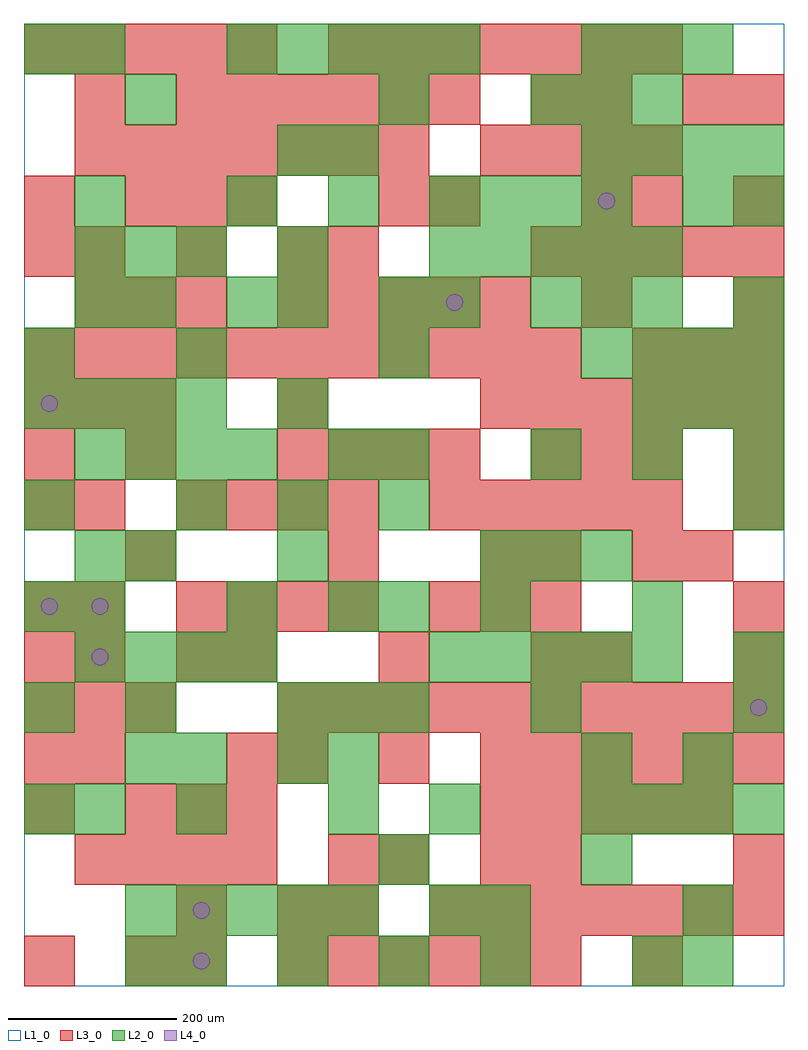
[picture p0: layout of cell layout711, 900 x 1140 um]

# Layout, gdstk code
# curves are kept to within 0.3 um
import gdstk
lib = gdstk.Library(unit=1e-6, precision=1e-09)
def R(c, l, rs):  # rectangles x0, y0, x1, y1
    for r in rs: c.add(gdstk.rectangle(r[:2], r[2:], *l))
def A(c, l, x, y, w, h, nx, ny, dx, dy):  # array of equal rectangles
    R(c, l, [(x+i*dx, y+j*dy, x+i*dx+w, y+j*dy+h) for i in range(nx) for j in range(ny)])
def P(c, l, *ps):  # polygons
    for p in ps: c.add(gdstk.Polygon(p, *l))
L1_0 = (1, 0)
L2_0 = (2, 0)
L3_0 = (3, 0)
L4_0 = (4, 0)

layout711 = lib.new_cell('layout711')
R(layout711, L1_0, [(0,0,900,1140)])
A(layout711, L2_0, 180, 0, 60, 60, 4, 1, 120, 0)
A(layout711, L2_0, 120, 60, 60, 60, 5, 1, 60, 0)
A(layout711, L2_0, 0, 180, 60, 60, 1, 4, 0, 120)
A(layout711, L2_0, 660, 180, 60, 60, 4, 2, 60, 780)
A(layout711, L2_0, 360, 240, 60, 60, 1, 3, 0, 180)
A(layout711, L2_0, 300, 300, 60, 60, 3, 1, 60, 0)
A(layout711, L2_0, 60, 360, 60, 60, 4, 2, 60, 240)
A(layout711, L2_0, 480, 360, 60, 60, 5, 2, 60, 480)
A(layout711, L2_0, 420, 420, 60, 60, 1, 3, 0, 180)
A(layout711, L2_0, 540, 480, 60, 60, 3, 2, 60, 420)
A(layout711, L2_0, 180, 540, 60, 60, 3, 1, 120, 0)
A(layout711, L2_0, 600, 600, 60, 60, 3, 1, 120, 0)
A(layout711, L2_0, 0, 660, 60, 60, 4, 1, 60, 0)
A(layout711, L2_0, 720, 660, 60, 60, 3, 2, 60, 60)
A(layout711, L2_0, 180, 720, 60, 60, 3, 1, 240, 0)
A(layout711, L2_0, 600, 780, 60, 60, 3, 2, 60, 240)
A(layout711, L2_0, 60, 840, 60, 60, 3, 1, 60, 0)
A(layout711, L2_0, 240, 900, 60, 60, 3, 1, 120, 0)
A(layout711, L2_0, 240, 1080, 60, 60, 5, 1, 60, 0)
A(layout711, L2_0, 660, 1080, 60, 60, 3, 1, 60, 0)
R(layout711, L2_0, [(120,0,180,60), (720,0,780,60), (780,0,840,60), (480,60,540,120), (540,60,600,120), (780,60,840,120), (420,120,480,180), (660,120,720,180), (60,180,120,240), (180,180,240,240), (360,180,420,240), (480,180,540,240), (120,240,180,300), (180,240,240,300), (300,240,360,300), (660,240,720,300), (780,240,840,300), (120,300,180,360), (600,300,660,360), (840,300,900,360), (840,360,900,420), (60,420,120,480), (240,420,300,480), (540,420,600,480), (720,420,780,480), (60,480,120,540), (120,480,180,540), (300,480,360,540), (840,540,900,600), (300,660,360,720), (0,720,60,780), (60,780,120,840), (120,780,180,840), (240,780,300,840), (300,780,360,840), (480,780,540,840), (840,780,900,840), (300,840,360,900), (60,900,120,960), (780,900,840,960), (840,900,900,960), (300,960,360,1020), (360,960,420,1020), (120,1020,180,1080), (420,1020,480,1080), (0,1080,60,1140), (60,1080,120,1140)])
A(layout711, L3_0, 300, 0, 60, 60, 6, 1, 60, 0)
A(layout711, L3_0, 480, 60, 60, 60, 7, 1, 60, 0)
A(layout711, L3_0, 60, 120, 60, 60, 4, 1, 60, 0)
A(layout711, L3_0, 360, 120, 60, 60, 1, 3, 0, 360)
A(layout711, L3_0, 120, 180, 60, 60, 3, 2, 60, 720)
A(layout711, L3_0, 540, 180, 60, 60, 5, 1, 60, 0)
A(layout711, L3_0, 300, 240, 60, 60, 3, 1, 120, 0)
A(layout711, L3_0, 600, 240, 60, 60, 5, 2, 60, 600)
A(layout711, L3_0, 0, 300, 60, 60, 3, 2, 60, 360)
A(layout711, L3_0, 300, 300, 60, 60, 10, 1, 60, 0)
A(layout711, L3_0, 240, 360, 60, 60, 3, 1, 180, 0)
A(layout711, L3_0, 180, 420, 60, 60, 4, 2, 60, 120)
A(layout711, L3_0, 480, 420, 60, 60, 3, 1, 60, 0)
A(layout711, L3_0, 480, 540, 60, 60, 5, 1, 60, 0)
A(layout711, L3_0, 300, 600, 60, 60, 4, 1, 60, 0)
A(layout711, L3_0, 600, 600, 60, 60, 3, 1, 60, 0)
A(layout711, L3_0, 540, 660, 60, 60, 6, 1, 60, 0)
A(layout711, L3_0, 0, 720, 60, 60, 11, 1, 60, 0)
A(layout711, L3_0, 720, 720, 60, 60, 3, 1, 60, 0)
A(layout711, L3_0, 60, 780, 60, 60, 3, 1, 60, 0)
A(layout711, L3_0, 300, 780, 60, 60, 5, 1, 60, 0)
A(layout711, L3_0, 660, 780, 60, 60, 1, 3, 0, 120)
A(layout711, L3_0, 840, 780, 60, 60, 1, 3, 0, 120)
A(layout711, L3_0, 60, 840, 60, 60, 3, 1, 120, 0)
A(layout711, L3_0, 60, 960, 60, 60, 7, 1, 60, 0)
A(layout711, L3_0, 540, 960, 60, 60, 4, 1, 60, 0)
A(layout711, L3_0, 180, 1020, 60, 60, 6, 1, 60, 0)
A(layout711, L3_0, 0, 1080, 60, 60, 5, 1, 60, 0)
A(layout711, L3_0, 360, 1080, 60, 60, 7, 1, 60, 0)
R(layout711, L3_0, [(0,0,60,60), (120,0,180,60), (180,0,240,60), (720,0,780,60), (180,60,240,120), (300,60,360,120), (360,60,420,120), (420,120,480,180), (540,120,600,180), (600,120,660,180), (840,120,900,180), (0,180,60,240), (0,240,60,300), (60,240,120,300), (240,240,300,300), (0,360,60,420), (60,360,120,420), (180,360,240,420), (660,360,720,420), (840,360,900,420), (0,420,60,480), (60,420,120,480), (840,420,900,480), (120,480,180,540), (540,480,600,540), (600,480,660,540), (720,480,780,540), (780,480,840,540), (0,540,60,600), (60,540,120,600), (840,540,900,600), (0,600,60,660), (120,600,180,660), (840,600,900,660), (300,660,360,720), (0,840,60,900), (0,900,60,960), (420,900,480,960), (480,900,540,960), (720,900,780,960), (60,1020,120,1080), (600,1020,660,1080), (780,1020,840,1080)])
P(layout711, L4_0, [(40,450),(39.239,453.827),(37.071,457.071),(33.827,459.239),(30,460),(26.173,459.239),(22.929,457.071),(20.761,453.827),(20,450),(20.761,446.173),(22.929,442.929),(26.173,440.761),(30,440),(33.827,440.761),(37.071,442.929),(39.239,446.173)],
  [(40,690),(39.239,693.827),(37.071,697.071),(33.827,699.239),(30,700),(26.173,699.239),(22.929,697.071),(20.761,693.827),(20,690),(20.761,686.173),(22.929,682.929),(26.173,680.761),(30,680),(33.827,680.761),(37.071,682.929),(39.239,686.173)],
  [(100,390),(99.239,393.827),(97.071,397.071),(93.827,399.239),(90,400),(86.173,399.239),(82.929,397.071),(80.761,393.827),(80,390),(80.761,386.173),(82.929,382.929),(86.173,380.761),(90,380),(93.827,380.761),(97.071,382.929),(99.239,386.173)],
  [(100,450),(99.239,453.827),(97.071,457.071),(93.827,459.239),(90,460),(86.173,459.239),(82.929,457.071),(80.761,453.827),(80,450),(80.761,446.173),(82.929,442.929),(86.173,440.761),(90,440),(93.827,440.761),(97.071,442.929),(99.239,446.173)],
  [(220,30),(219.239,33.827),(217.071,37.071),(213.827,39.239),(210,40),(206.173,39.239),(202.929,37.071),(200.761,33.827),(200,30),(200.761,26.173),(202.929,22.929),(206.173,20.761),(210,20),(213.827,20.761),(217.071,22.929),(219.239,26.173)],
  [(220,90),(219.239,93.827),(217.071,97.071),(213.827,99.239),(210,100),(206.173,99.239),(202.929,97.071),(200.761,93.827),(200,90),(200.761,86.173),(202.929,82.929),(206.173,80.761),(210,80),(213.827,80.761),(217.071,82.929),(219.239,86.173)],
  [(520,810),(519.239,813.827),(517.071,817.071),(513.827,819.239),(510,820),(506.173,819.239),(502.929,817.071),(500.761,813.827),(500,810),(500.761,806.173),(502.929,802.929),(506.173,800.761),(510,800),(513.827,800.761),(517.071,802.929),(519.239,806.173)],
  [(700,930),(699.239,933.827),(697.071,937.071),(693.827,939.239),(690,940),(686.173,939.239),(682.929,937.071),(680.761,933.827),(680,930),(680.761,926.173),(682.929,922.929),(686.173,920.761),(690,920),(693.827,920.761),(697.071,922.929),(699.239,926.173)],
  [(880,330),(879.239,333.827),(877.071,337.071),(873.827,339.239),(870,340),(866.173,339.239),(862.929,337.071),(860.761,333.827),(860,330),(860.761,326.173),(862.929,322.929),(866.173,320.761),(870,320),(873.827,320.761),(877.071,322.929),(879.239,326.173)])

lib.write_gds('layout711.gds')
